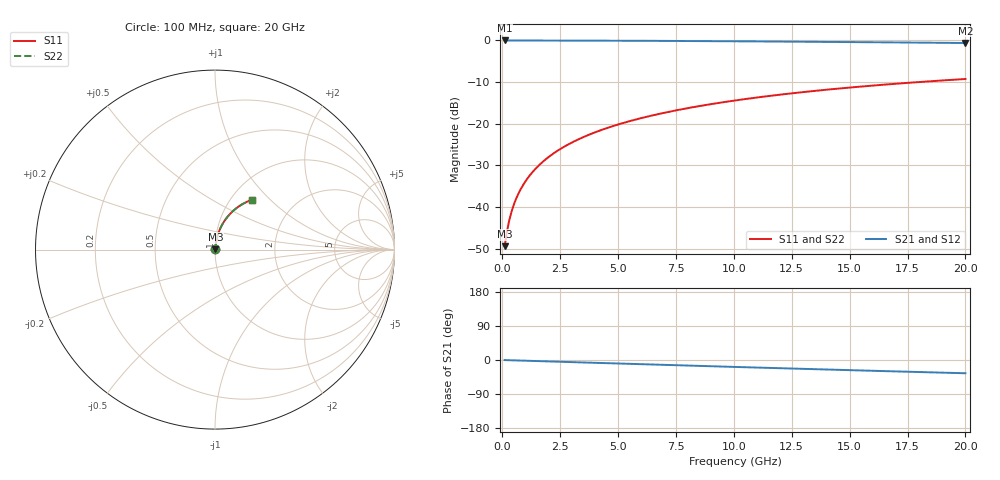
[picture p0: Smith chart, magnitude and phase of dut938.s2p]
! Touchstone file exported from HFSS 2026.1.0
!  File:  C:/ffzhzh/LocalFiles/Ansys_Project_Files/temp_train_TMRDL_938_1783158455_18472.aedt
!  Generated:  05:48:49 PM Jul  4, 2026
!  Design:  TMRDL
!  Project:  temp_train_TMRDL_938_1783158455_18472
! Variables:
!  h_bsmrdl = 2um
!  h_ox = 20um
!  h_rdl = 5um
!  h_sub = 80um
!  h_tmrdl = 3.21um
!  h_tsv = 80um
!  h_via = 3um
!  l_bsmrdl = 300um
!  l_sub = 878.9um
!  l_tmrdl = 478.9um
!  m_sub = 200um
!  pitch = 50.61um
!  r_tsv = 6um
!  s_tmrdl = 10um
!  w_bsmrdl = 18um
!  w_sub = 500um
!  w_tmrdl = 21.94um
!  x_tsv_center1 = 489.87um
!  x_tsv_center2 = 807.87um
!  x_tsv_center3 = 1308.71um
!  x_tsv_center4 = 1626.71um
!  x_tsv_center5 = 2127.55um
!  x_tsv_center6 = 2445.55um
# GHz S MA R 50.000000
! Terminal data exported
! Port[1] = TM_RDL1_1_T1
! Port[2] = TM_RDL1_1_T2
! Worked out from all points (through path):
!   200 points, 100 MHz to 20 GHz, reference 50 ohm
!   highest |S21| = -0.02 dB at 100 MHz (marker M1); lowest = -0.6 dB at 20 GHz (marker M2)
!   group delay of S21, straight-line fit = 4.86 ps
!   lowest |S11| = -49.4 dB at 100 MHz (marker M3), VSWR 1.01, Z = 50.3 + j0.216 ohm
!   |S11| at or under -10 dB: start of sweep to 17.99 GHz
!   |S22| runs from -49.4 to -9.3 dB; largest |S21 - S12| = 5.6e-15
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0.1  0.003404 39.2  0.9974 -0.2  0.9974 -0.2  0.003404 39.2
! Gamma 0 0 0 0
! Port Impedance 50 0 50 0
0.2  0.005074 57.0  0.9973 -0.4  0.9973 -0.4  0.005074 57.0
0.3  0.006941 65.1  0.9971 -0.6  0.9971 -0.6  0.006941 65.1
0.4  0.008845 69.6  0.997 -0.8  0.997 -0.8  0.008845 69.6
0.5  0.01076 72.5  0.9969 -1.0  0.9969 -1.0  0.01076 72.5
0.6  0.01267 74.5  0.9968 -1.1  0.9968 -1.1  0.01267 74.5
0.8  0.01652 77.2  0.9966 -1.5  0.9966 -1.5  0.01652 77.2
1.1  0.02233 79.3  0.9964 -2.1  0.9964 -2.1  0.02233 79.3
1.3  0.02622 80.1  0.9963 -2.4  0.9963 -2.4  0.02622 80.1
1.6  0.03208 80.8  0.996 -3.0  0.996 -3.0  0.03208 80.8
2.1  0.04186 81.2  0.9955 -3.9  0.9955 -3.9  0.04186 81.2
2.7  0.05359 80.9  0.9948 -5.0  0.9948 -5.0  0.05359 80.9
3.5  0.06915 80.2  0.9936 -6.5  0.9936 -6.5  0.06915 80.2
4.2  0.08267 79.2  0.9923 -7.8  0.9923 -7.8  0.08267 79.2
5  0.09797 78.1  0.9906 -9.3  0.9906 -9.3  0.09797 78.0
5.9  0.115 76.6  0.9884 -10.9  0.9884 -10.9  0.115 76.6
6.8  0.1318 75.1  0.9859 -12.5  0.9859 -12.5  0.1318 75.1
8.3  0.1591 72.6  0.9812 -15.2  0.9812 -15.2  0.1591 72.6
10.1  0.191 69.6  0.9749 -18.4  0.9749 -18.4  0.191 69.6
13.4  0.2464 64.1  0.9613 -24.1  0.9613 -24.1  0.2464 64.1
16.7  0.2975 58.7  0.9461 -29.6  0.9461 -29.6  0.2975 58.7
20  0.3441 53.5  0.9297 -35.0  0.9297 -35.0  0.3441 53.5
